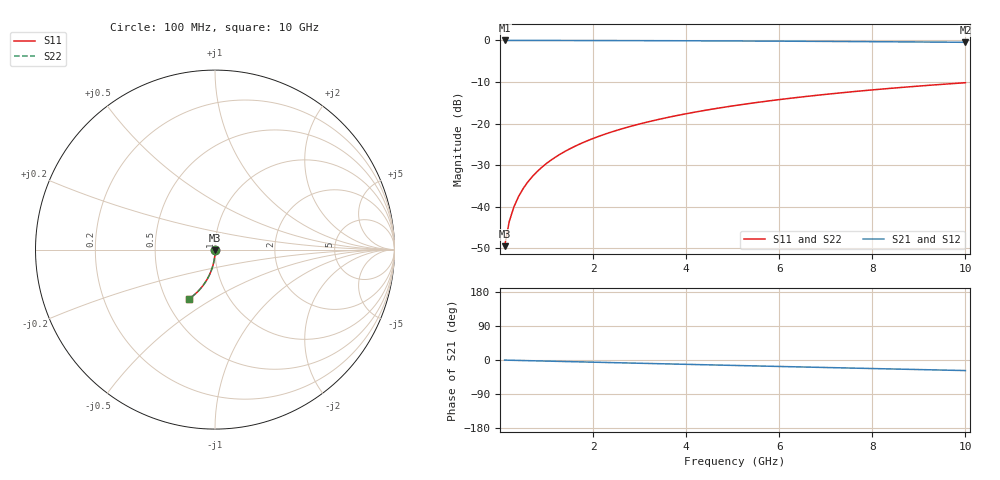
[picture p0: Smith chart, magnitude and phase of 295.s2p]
# Hz S RI R 50.00
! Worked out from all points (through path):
!   100 points, 100 MHz to 10 GHz, reference 50 ohm
!   highest |S21| = 0.00 dB at 100 MHz (marker M1); lowest = -0.4 dB at 10 GHz (marker M2)
!   group delay of S21, straight-line fit = 7.76 ps
!   lowest |S11| = -49.5 dB at 100 MHz (marker M3), VSWR 1.01, Z = 50 - j0.332 ohm
!   |S11| at or under -10 dB: start of sweep to end of sweep
!   |S22| runs from -49.5 to -10.2 dB; largest |S21 - S12| = 0
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1e8  0.000487 -0.00332  0.9995 -0.005  0.9995 -0.005  0.000487 -0.00332
2e8  0.000436 -0.00664  0.9994 -0.01  0.9994 -0.01  0.000436 -0.00664
3e8  0.000352 -0.00996  0.9993 -0.015  0.9993 -0.015  0.000352 -0.00996
4e8  0.000234 -0.0133  0.9992 -0.02  0.9992 -0.02  0.000234 -0.0133
5e8  8.22e-05 -0.0166  0.999 -0.025  0.999 -0.025  8.22e-05 -0.0166
6e8  -0.000103 -0.0199  0.9988 -0.03  0.9988 -0.03  -0.000103 -0.0199
7e8  -0.000321 -0.0232  0.9986 -0.035  0.9986 -0.035  -0.000321 -0.0232
8e8  -0.000572 -0.0265  0.9983 -0.04  0.9983 -0.04  -0.000572 -0.0265
9e8  -0.000857 -0.0298  0.998 -0.045  0.998 -0.045  -0.000857 -0.0298
1.1e9  -0.00152 -0.0364  0.9973 -0.0549  0.9973 -0.0549  -0.00152 -0.0364
1.4e9  -0.00277 -0.0463  0.9959 -0.0698  0.9959 -0.0698  -0.00277 -0.0463
1.8e9  -0.0049 -0.0594  0.9936 -0.0897  0.9936 -0.0897  -0.0049 -0.0594
2.1e9  -0.00683 -0.0691  0.9915 -0.1045  0.9915 -0.1045  -0.00683 -0.0691
2.5e9  -0.00985 -0.082  0.9882 -0.1241  0.9882 -0.1241  -0.00985 -0.082
2.9e9  -0.0134 -0.0947  0.9843 -0.1435  0.9843 -0.1435  -0.0134 -0.0947
3.4e9  -0.0185 -0.1104  0.9788 -0.1676  0.9788 -0.1676  -0.0185 -0.1104
4.2e9  -0.0282 -0.1348  0.9682 -0.2055  0.9682 -0.2055  -0.0282 -0.1348
5.1e9  -0.0413 -0.161  0.9538 -0.247  0.9538 -0.247  -0.0413 -0.161
5.9e9  -0.0548 -0.1831  0.9391 -0.2827  0.9391 -0.2827  -0.0548 -0.1831
6.7e9  -0.0698 -0.204  0.9226 -0.3172  0.9226 -0.3172  -0.0698 -0.204
8.4e9  -0.1061 -0.2435  0.8825 -0.3858  0.8825 -0.3858  -0.1061 -0.2435
1e10  -0.1447 -0.2742  0.8395 -0.444  0.8395 -0.444  -0.1447 -0.2742
